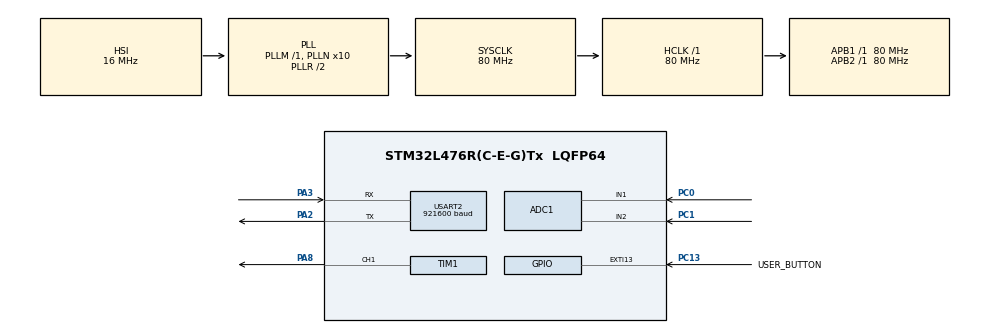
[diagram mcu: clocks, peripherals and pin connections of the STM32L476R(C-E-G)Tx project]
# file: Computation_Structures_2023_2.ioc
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ADC1.Channel-0\#ChannelRegularConversion=ADC_CHANNEL_1
ADC1.Channel-1\#ChannelRegularConversion=ADC_CHANNEL_2
ADC1.ClockPrescaler=ADC_CLOCK_ASYNC_DIV1
ADC1.ContinuousConvMode=ENABLE
ADC1.EOCSelection=ADC_EOC_SEQ_CONV
ADC1.NbrOfConversion=2
ADC1.NbrOfConversionFlag=1
ADC1.OffsetNumber-0\#ChannelRegularConversion=ADC_OFFSET_NONE
ADC1.OffsetNumber-1\#ChannelRegularConversion=ADC_OFFSET_NONE
ADC1.Rank-0\#ChannelRegularConversion=1
ADC1.Rank-1\#ChannelRegularConversion=2
ADC1.SamplingTime-0\#ChannelRegularConversion=ADC_SAMPLETIME_2CYCLES_5
ADC1.SamplingTime-1\#ChannelRegularConversion=ADC_SAMPLETIME_2CYCLES_5
ADC1.master=1
Dma.ADC1.1.Direction=DMA_PERIPH_TO_MEMORY
Dma.ADC1.1.Instance=DMA1_Channel1
Dma.ADC1.1.MemDataAlignment=DMA_MDATAALIGN_HALFWORD
Dma.ADC1.1.MemInc=DMA_MINC_ENABLE
Dma.ADC1.1.Mode=DMA_NORMAL
Dma.ADC1.1.PeriphDataAlignment=DMA_PDATAALIGN_HALFWORD
Dma.ADC1.1.PeriphInc=DMA_PINC_DISABLE
Dma.ADC1.1.Priority=DMA_PRIORITY_HIGH
Dma.Request0=USART2_TX
Dma.Request1=ADC1
Dma.USART2_TX.0.Direction=DMA_MEMORY_TO_PERIPH
Dma.USART2_TX.0.Instance=DMA1_Channel7
Dma.USART2_TX.0.MemDataAlignment=DMA_MDATAALIGN_BYTE
Dma.USART2_TX.0.MemInc=DMA_MINC_ENABLE
Dma.USART2_TX.0.Mode=DMA_NORMAL
Dma.USART2_TX.0.PeriphDataAlignment=DMA_PDATAALIGN_BYTE
Dma.USART2_TX.0.PeriphInc=DMA_PINC_DISABLE
Dma.USART2_TX.0.Priority=DMA_PRIORITY_MEDIUM
Mcu.Family=STM32L4
Mcu.Name=STM32L476R(C-E-G)Tx
Mcu.Package=LQFP64
NVIC.DMA1_Channel1_IRQn=true\:0\:0\:false\:false\:true\:false\:true\:true
NVIC.DMA1_Channel7_IRQn=true\:0\:0\:false\:false\:true\:false\:true\:true
NVIC.EXTI15_10_IRQn=true\:0\:0\:false\:false\:true\:true\:true\:true
NVIC.PriorityGroup=NVIC_PRIORITYGROUP_4
NVIC.RTC_Alarm_IRQn=true\:0\:0\:false\:false\:true\:true\:true\:true
NVIC.TIM7_IRQn=true\:0\:0\:false\:false\:true\:true\:true\:true
NVIC.USART2_IRQn=true\:0\:0\:false\:false\:true\:true\:true\:true
PA2.Mode=Asynchronous
PA2.Signal=USART2_TX
PA3.Mode=Asynchronous
PA3.Signal=USART2_RX
PA8.Signal=S_TIM1_CH1
PC0.Signal=ADCx_IN1
PC1.Signal=ADCx_IN2
PC13.GPIO_Label=USER_BUTTON
PC13.Signal=GPXTI13
ProjectManager.HeapSize=0x200
ProjectManager.StackSize=0x400
ProjectManager.TargetToolchain=STM32CubeIDE
RCC.ADCFreq_Value=64000000
RCC.AHBFreq_Value=80000000
RCC.APB1Freq_Value=80000000
RCC.APB1TimFreq_Value=80000000
RCC.APB2Freq_Value=80000000
RCC.APB2TimFreq_Value=80000000
RCC.CortexFreq_Value=80000000
RCC.HCLKFreq_Value=80000000
RCC.HSE_VALUE=8000000
RCC.HSI_VALUE=16000000
RCC.LSE_VALUE=32768
RCC.MSI_VALUE=4000000
RCC.PLLN=10
RCC.PLLSourceVirtual=RCC_PLLSOURCE_HSI
RCC.PREFETCH_ENABLE=1
RCC.SYSCLKFreq_VALUE=80000000
RCC.SYSCLKSource=RCC_SYSCLKSOURCE_PLLCLK
RCC.USBFreq_Value=64000000
RCC.VCOOutputFreq_Value=160000000
RTC.Alarm-Alarm\ A=RTC_ALARM_A
SH.ADCx_IN1.0=ADC1_IN1,IN1-Single-Ended
SH.ADCx_IN2.0=ADC1_IN2,IN2-Single-Ended
SH.S_TIM1_CH1.0=TIM1_CH1,PWM Generation1 CH1
TIM1.Channel-PWM\ Generation1\ CH1=TIM_CHANNEL_1
TIM1.Period=100-1
TIM1.Prescaler=800-1
TIM7.Period=10000-1
TIM7.Prescaler=8000-1
USART2.BaudRate=921600
USART2.VirtualMode-Asynchronous=VM_ASYNC
VP_RTC_VS_RTC_Activate.Mode=RTC_Enabled
VP_RTC_VS_RTC_Alarm_A_Intern.Mode=Alarm A
VP_RTC_VS_RTC_Calendar.Mode=RTC_Calendar
VP_TIM1_VS_ClockSourceINT.Mode=Internal
VP_TIM7_VS_ClockSourceINT.Mode=Enable_Timer
board=NUCLEO-L476RG

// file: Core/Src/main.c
/* USER CODE BEGIN Header */
/**
  ******************************************************************************
  * @file           : main.c
  * @brief          : Main program body
  ******************************************************************************
  * @attention
  *
  * Copyright (c) 2023 STMicroelectronics.
  * All rights reserved.
  *
  * This software is licensed under terms that can be found in the LICENSE file
  * in the root directory of this software component.
  * If no LICENSE file comes with this software, it is provided AS-IS.
  *
  ******************************************************************************
  */
/* USER CODE END Header */
#include "main.h"

/* USER CODE BEGIN Includes */
#include <stdio.h>
/* USER CODE END Includes */

ADC_HandleTypeDef hadc1;
DMA_HandleTypeDef hdma_adc1;

RTC_HandleTypeDef hrtc;

TIM_HandleTypeDef htim1;
TIM_HandleTypeDef htim7;

UART_HandleTypeDef huart2;
DMA_HandleTypeDef hdma_usart2_tx;

/* USER CODE BEGIN PV */
uint8_t rx_buffer[4];

uint8_t tx_busy = 0;

uint16_t adc_buffer[10];

uint8_t pwm_buffer[1000];
/* USER CODE END PV */

void SystemClock_Config(void);
static void MX_GPIO_Init(void);
static void MX_DMA_Init(void);
static void MX_USART2_UART_Init(void);
static void MX_TIM7_Init(void);
static void MX_TIM1_Init(void);
static void MX_ADC1_Init(void);
static void MX_RTC_Init(void);

/* USER CODE BEGIN 0 */
int _write(int file, char *ptr, int len)
{
	while (tx_busy != 0) {/* Wait */}
  HAL_UART_Transmit_DMA(&huart2, (uint8_t *)ptr, len);
  tx_busy = 1;
  return len;
}

void HAL_UART_RxCpltCallback(UART_HandleTypeDef *huart)
{
	printf("Received: [%s]\r\n", rx_buffer);
	HAL_UART_Receive_IT(&huart2, rx_buffer, 1);
}

void HAL_UART_TxCpltCallback(UART_HandleTypeDef *huart)
{
	tx_busy = 0;
}

void HAL_TIM_PeriodElapsedCallback(TIM_HandleTypeDef *htim)
{
	static uint32_t counter = 0;

	//printf("Counter: %ld\r\n", counter++);
}

void update_adc_channel(uint32_t new_channel)
{
	ADC_ChannelConfTypeDef sConfig = {0};
	/** Configure Regular Channel
	  */
	sConfig.Channel = new_channel;
	sConfig.Rank = ADC_REGULAR_RANK_1;
	sConfig.SamplingTime = ADC_SAMPLETIME_2CYCLES_5;
	sConfig.SingleDiff = ADC_SINGLE_ENDED;
	sConfig.OffsetNumber = ADC_OFFSET_NONE;
	sConfig.Offset = 0;
	if (HAL_ADC_ConfigChannel(&hadc1, &sConfig) != HAL_OK)
	{
		Error_Handler();
	}
}

void rct_alarm_config(void)
{
	RTC_DateTypeDef date;
	RTC_TimeTypeDef time;
	RTC_AlarmTypeDef alarm;

	date.Year = 0x23;
	date.Month = RTC_MONTH_OCTOBER;
	date.Date = 0x06;
	date.WeekDay = RTC_WEEKDAY_FRIDAY;
	HAL_RTC_SetDate(&hrtc, &date, RTC_FORMAT_BCD);

	time.Hours = 0x19;
	time.Minutes = 0x10;
	time.Seconds = 0x00;
	time.TimeFormat = RTC_HOURFORMAT_24;
	HAL_RTC_SetTime(&hrtc, &time, RTC_FORMAT_BCD);

	alarm.Alarm = RTC_ALARM_A;
	alarm.AlarmTime.Hours = 0x19;
	alarm.AlarmTime.Minutes = 0x10;
	alarm.AlarmTime.Seconds = 0x10;

	alarm.AlarmTime.TimeFormat = RTC_HOURFORMAT_24;
	alarm.AlarmDateWeekDay = RTC_WEEKDAY_FRIDAY;
	alarm.AlarmDateWeekDaySel = RTC_ALARMDATEWEEKDAYSEL_WEEKDAY;
	alarm.AlarmMask = RTC_ALARMMASK_DATEWEEKDAY;
	HAL_RTC_SetAlarm_IT(&hrtc, &alarm, RTC_FORMAT_BCD);
}

/* USER CODE END 0 */
void HAL_RTC_AlarmAEventCallback(RTC_HandleTypeDef *hrtc)
{
	/*Turn LD2 0n: Alarm generation */
	printf("Alarm!!!\r\n");
}
int main(void)
{

  /* MCU Configuration--------------------------------------------------------*/

  /* Reset of all peripherals, Initializes the Flash interface and the Systick. */
  HAL_Init();

  /* Configure the system clock */
  SystemClock_Config();

  /* Initialize all configured peripherals */
  MX_GPIO_Init();
  MX_DMA_Init();
  MX_USART2_UART_Init();
  MX_TIM7_Init();
  MX_TIM1_Init();
  MX_ADC1_Init();
  MX_RTC_Init();
  /* USER CODE BEGIN 2 */
  HAL_UART_Receive_IT(&huart2, rx_buffer, 1);

  HAL_TIM_Base_Start_IT(&htim7);

  TIM1->CCR1 = 50; // To set the compare channel 1
  HAL_TIM_PWM_Start(&htim1, TIM_CHANNEL_1);

  /*The ADC buffer will have the latest values from here*/
  HAL_ADC_Start_DMA(&hadc1, (uint32_t*)adc_buffer, 2);
  /* USER CODE END 2 */

  /* Infinite loop */
  /* USER CODE BEGIN WHILE */
  for (uint8_t idx =0; idx <= 0x0F; idx++)
	  printf("IDX: 0x%02X\r\n", idx);

  //printf("Initial values: %d, %d\r\n", adc_buffer[0], adc_buffer[1]);

  rct_alarm_config();
  while (1)
  {
//	update_adc_channel(ADC_CHANNEL_1);
//	HAL_ADC_Start(&hadc1);
//	HAL_ADC_PollForConversion(&hadc1, 10);
//	uint16_t adc_value = HAL_ADC_GetValue(&hadc1);
//	HAL_ADC_Stop(&hadc1);
//
//	update_adc_channel(ADC_CHANNEL_2);
//	HAL_ADC_Start(&hadc1);
//	HAL_ADC_PollForConversion(&hadc1, 10);
//	uint16_t adc_value2 = HAL_ADC_GetValue(&hadc1);
//	HAL_ADC_Stop(&hadc1);
//
//	float adc_voltage = (adc_value / 4096.0) * 3.3;
//	float adc_voltage2 = (adc_value2 / 4096.0) * 3.3;
//	printf("ADC Reading: %f, %f\r\n", adc_voltage, adc_voltage2);
	 HAL_ADC_Start_DMA(&hadc1, (uint32_t*)adc_buffer, 10);
	 HAL_Delay(1000);
	 uint32_t adc_chanel_1 = adc_buffer[0] + adc_buffer[2] +
			 adc_buffer[4] + adc_buffer[6] + adc_buffer[8];
	 adc_chanel_1 = adc_chanel_1 / 5;
	 uint32_t adc_chanel_2 = adc_buffer[1] + adc_buffer[3] +
	 			 adc_buffer[5] + adc_buffer[7] + adc_buffer[9];
	 	 adc_chanel_2 = adc_chanel_2 / 5;
	 //printf("Current values: %d, %d\r\n", adc_buffer[0], adc_buffer[1]);
	 printf("Average: %ld, %ld\r\n", adc_chanel_1, adc_chanel_2);
    /* USER CODE END WHILE */

  }
}

void SystemClock_Config(void)
{
  RCC_OscInitTypeDef RCC_OscInitStruct = {0};
  RCC_ClkInitTypeDef RCC_ClkInitStruct = {0};

  /** Configure the main internal regulator output voltage
  */
  if (HAL_PWREx_ControlVoltageScaling(PWR_REGULATOR_VOLTAGE_SCALE1) != HAL_OK)
  {
    Error_Handler();
  }

  /** Initializes the RCC Oscillators according to the specified parameters
  * in the RCC_OscInitTypeDef structure.
  */
  RCC_OscInitStruct.OscillatorType = RCC_OSCILLATORTYPE_HSI|RCC_OSCILLATORTYPE_LSI;
  RCC_OscInitStruct.HSIState = RCC_HSI_ON;
  RCC_OscInitStruct.HSICalibrationValue = RCC_HSICALIBRATION_DEFAULT;
  RCC_OscInitStruct.LSIState = RCC_LSI_ON;
  RCC_OscInitStruct.PLL.PLLState = RCC_PLL_ON;
  RCC_OscInitStruct.PLL.PLLSource = RCC_PLLSOURCE_HSI;
  RCC_OscInitStruct.PLL.PLLM = 1;
  RCC_OscInitStruct.PLL.PLLN = 10;
  RCC_OscInitStruct.PLL.PLLP = RCC_PLLP_DIV7;
  RCC_OscInitStruct.PLL.PLLQ = RCC_PLLQ_DIV2;
  RCC_OscInitStruct.PLL.PLLR = RCC_PLLR_DIV2;
  if (HAL_RCC_OscConfig(&RCC_OscInitStruct) != HAL_OK)
  {
    Error_Handler();
  }

  /** Initializes the CPU, AHB and APB buses clocks
  */
  RCC_ClkInitStruct.ClockType = RCC_CLOCKTYPE_HCLK|RCC_CLOCKTYPE_SYSCLK
                              |RCC_CLOCKTYPE_PCLK1|RCC_CLOCKTYPE_PCLK2;
  RCC_ClkInitStruct.SYSCLKSource = RCC_SYSCLKSOURCE_PLLCLK;
  RCC_ClkInitStruct.AHBCLKDivider = RCC_SYSCLK_DIV1;
  RCC_ClkInitStruct.APB1CLKDivider = RCC_HCLK_DIV1;
  RCC_ClkInitStruct.APB2CLKDivider = RCC_HCLK_DIV1;

  if (HAL_RCC_ClockConfig(&RCC_ClkInitStruct, FLASH_LATENCY_4) != HAL_OK)
  {
    Error_Handler();
  }
}

static void MX_ADC1_Init(void)
{

  ADC_MultiModeTypeDef multimode = {0};
  ADC_ChannelConfTypeDef sConfig = {0};

  /** Common config
  */
  hadc1.Instance = ADC1;
  hadc1.Init.ClockPrescaler = ADC_CLOCK_ASYNC_DIV1;
  hadc1.Init.Resolution = ADC_RESOLUTION_12B;
  hadc1.Init.DataAlign = ADC_DATAALIGN_RIGHT;
  hadc1.Init.ScanConvMode = ADC_SCAN_ENABLE;
  hadc1.Init.EOCSelection = ADC_EOC_SEQ_CONV;
  hadc1.Init.LowPowerAutoWait = DISABLE;
  hadc1.Init.ContinuousConvMode = ENABLE;
  hadc1.Init.NbrOfConversion = 2;
  hadc1.Init.DiscontinuousConvMode = DISABLE;
  hadc1.Init.ExternalTrigConv = ADC_SOFTWARE_START;
  hadc1.Init.ExternalTrigConvEdge = ADC_EXTERNALTRIGCONVEDGE_NONE;
  hadc1.Init.DMAContinuousRequests = DISABLE;
  hadc1.Init.Overrun = ADC_OVR_DATA_PRESERVED;
  hadc1.Init.OversamplingMode = DISABLE;
  if (HAL_ADC_Init(&hadc1) != HAL_OK)
  {
    Error_Handler();
  }

  /** Configure the ADC multi-mode
  */
  multimode.Mode = ADC_MODE_INDEPENDENT;
  if (HAL_ADCEx_MultiModeConfigChannel(&hadc1, &multimode) != HAL_OK)
  {
    Error_Handler();
  }

  /** Configure Regular Channel
  */
  sConfig.Channel = ADC_CHANNEL_1;
  sConfig.Rank = ADC_REGULAR_RANK_1;
  sConfig.SamplingTime = ADC_SAMPLETIME_2CYCLES_5;
  sConfig.SingleDiff = ADC_SINGLE_ENDED;
  sConfig.OffsetNumber = ADC_OFFSET_NONE;
  sConfig.Offset = 0;
  if (HAL_ADC_ConfigChannel(&hadc1, &sConfig) != HAL_OK)
  {
    Error_Handler();
  }

  /** Configure Regular Channel
  */
  sConfig.Channel = ADC_CHANNEL_2;
  sConfig.Rank = ADC_REGULAR_RANK_2;
  if (HAL_ADC_ConfigChannel(&hadc1, &sConfig) != HAL_OK)
  {
    Error_Handler();
  }

}

static void MX_RTC_Init(void)
{

  RTC_TimeTypeDef sTime = {0};
  RTC_DateTypeDef sDate = {0};
  RTC_AlarmTypeDef sAlarm = {0};

  /** Initialize RTC Only
  */
  hrtc.Instance = RTC;
  hrtc.Init.HourFormat = RTC_HOURFORMAT_24;
  hrtc.Init.AsynchPrediv = 127;
  hrtc.Init.SynchPrediv = 255;
  hrtc.Init.OutPut = RTC_OUTPUT_DISABLE;
  hrtc.Init.OutPutRemap = RTC_OUTPUT_REMAP_NONE;
  hrtc.Init.OutPutPolarity = RTC_OUTPUT_POLARITY_HIGH;
  hrtc.Init.OutPutType = RTC_OUTPUT_TYPE_OPENDRAIN;
  if (HAL_RTC_Init(&hrtc) != HAL_OK)
  {
    Error_Handler();
  }

  /** Initialize RTC and set the Time and Date
  */
  sTime.Hours = 0x0;
  sTime.Minutes = 0x0;
  sTime.Seconds = 0x0;
  sTime.DayLightSaving = RTC_DAYLIGHTSAVING_NONE;
  sTime.StoreOperation = RTC_STOREOPERATION_RESET;
  if (HAL_RTC_SetTime(&hrtc, &sTime, RTC_FORMAT_BCD) != HAL_OK)
  {
    Error_Handler();
  }
  sDate.WeekDay = RTC_WEEKDAY_MONDAY;
  sDate.Month = RTC_MONTH_JANUARY;
  sDate.Date = 0x1;
  sDate.Year = 0x0;

  if (HAL_RTC_SetDate(&hrtc, &sDate, RTC_FORMAT_BCD) != HAL_OK)
  {
    Error_Handler();
  }

  /** Enable the Alarm A
  */
  sAlarm.AlarmTime.Hours = 0x0;
  sAlarm.AlarmTime.Minutes = 0x0;
  sAlarm.AlarmTime.Seconds = 0x0;
  sAlarm.AlarmTime.SubSeconds = 0x0;
  sAlarm.AlarmTime.DayLightSaving = RTC_DAYLIGHTSAVING_NONE;
  sAlarm.AlarmTime.StoreOperation = RTC_STOREOPERATION_RESET;
  sAlarm.AlarmMask = RTC_ALARMMASK_NONE;
  sAlarm.AlarmSubSecondMask = RTC_ALARMSUBSECONDMASK_ALL;
  sAlarm.AlarmDateWeekDaySel = RTC_ALARMDATEWEEKDAYSEL_DATE;
  sAlarm.AlarmDateWeekDay = 0x1;
  sAlarm.Alarm = RTC_ALARM_A;
  if (HAL_RTC_SetAlarm_IT(&hrtc, &sAlarm, RTC_FORMAT_BCD) != HAL_OK)
  {
    Error_Handler();
  }

}

static void MX_TIM1_Init(void)
{

  TIM_ClockConfigTypeDef sClockSourceConfig = {0};
  TIM_MasterConfigTypeDef sMasterConfig = {0};
  TIM_OC_InitTypeDef sConfigOC = {0};
  TIM_BreakDeadTimeConfigTypeDef sBreakDeadTimeConfig = {0};

  htim1.Instance = TIM1;
  htim1.Init.Prescaler = 800-1;
  htim1.Init.CounterMode = TIM_COUNTERMODE_UP;
  htim1.Init.Period = 100-1;
  htim1.Init.ClockDivision = TIM_CLOCKDIVISION_DIV1;
  htim1.Init.RepetitionCounter = 0;
  htim1.Init.AutoReloadPreload = TIM_AUTORELOAD_PRELOAD_DISABLE;
  if (HAL_TIM_Base_Init(&htim1) != HAL_OK)
  {
    Error_Handler();
  }
  sClockSourceConfig.ClockSource = TIM_CLOCKSOURCE_INTERNAL;
  if (HAL_TIM_ConfigClockSource(&htim1, &sClockSourceConfig) != HAL_OK)
  {
    Error_Handler();
  }
  if (HAL_TIM_PWM_Init(&htim1) != HAL_OK)
  {
    Error_Handler();
  }
  sMasterConfig.MasterOutputTrigger = TIM_TRGO_RESET;
  sMasterConfig.MasterOutputTrigger2 = TIM_TRGO2_RESET;
  sMasterConfig.MasterSlaveMode = TIM_MASTERSLAVEMODE_DISABLE;
  if (HAL_TIMEx_MasterConfigSynchronization(&htim1, &sMasterConfig) != HAL_OK)
  {
    Error_Handler();
  }
  sConfigOC.OCMode = TIM_OCMODE_PWM1;
  sConfigOC.Pulse = 0;
  sConfigOC.OCPolarity = TIM_OCPOLARITY_HIGH;
  sConfigOC.OCNPolarity = TIM_OCNPOLARITY_HIGH;
  sConfigOC.OCFastMode = TIM_OCFAST_DISABLE;
  sConfigOC.OCIdleState = TIM_OCIDLESTATE_RESET;
  sConfigOC.OCNIdleState = TIM_OCNIDLESTATE_RESET;
  if (HAL_TIM_PWM_ConfigChannel(&htim1, &sConfigOC, TIM_CHANNEL_1) != HAL_OK)
  {
    Error_Handler();
  }
  sBreakDeadTimeConfig.OffStateRunMode = TIM_OSSR_DISABLE;
  sBreakDeadTimeConfig.OffStateIDLEMode = TIM_OSSI_DISABLE;
  sBreakDeadTimeConfig.LockLevel = TIM_LOCKLEVEL_OFF;
  sBreakDeadTimeConfig.DeadTime = 0;
  sBreakDeadTimeConfig.BreakState = TIM_BREAK_DISABLE;
  sBreakDeadTimeConfig.BreakPolarity = TIM_BREAKPOLARITY_HIGH;
  sBreakDeadTimeConfig.BreakFilter = 0;
  sBreakDeadTimeConfig.Break2State = TIM_BREAK2_DISABLE;
  sBreakDeadTimeConfig.Break2Polarity = TIM_BREAK2POLARITY_HIGH;
  sBreakDeadTimeConfig.Break2Filter = 0;
  sBreakDeadTimeConfig.AutomaticOutput = TIM_AUTOMATICOUTPUT_DISABLE;
  if (HAL_TIMEx_ConfigBreakDeadTime(&htim1, &sBreakDeadTimeConfig) != HAL_OK)
  {
    Error_Handler();
  }
  HAL_TIM_MspPostInit(&htim1);

}

static void MX_TIM7_Init(void)
{

  TIM_MasterConfigTypeDef sMasterConfig = {0};

  htim7.Instance = TIM7;
  htim7.Init.Prescaler = 8000-1;
  htim7.Init.CounterMode = TIM_COUNTERMODE_UP;
  htim7.Init.Period = 10000-1;
  htim7.Init.AutoReloadPreload = TIM_AUTORELOAD_PRELOAD_DISABLE;
  if (HAL_TIM_Base_Init(&htim7) != HAL_OK)
  {
    Error_Handler();
  }
  sMasterConfig.MasterOutputTrigger = TIM_TRGO_RESET;
  sMasterConfig.MasterSlaveMode = TIM_MASTERSLAVEMODE_DISABLE;
  if (HAL_TIMEx_MasterConfigSynchronization(&htim7, &sMasterConfig) != HAL_OK)
  {
    Error_Handler();
  }

}

static void MX_USART2_UART_Init(void)
{

  huart2.Instance = USART2;
  huart2.Init.BaudRate = 921600;
  huart2.Init.WordLength = UART_WORDLENGTH_8B;
  huart2.Init.StopBits = UART_STOPBITS_1;
  huart2.Init.Parity = UART_PARITY_NONE;
  huart2.Init.Mode = UART_MODE_TX_RX;
  huart2.Init.HwFlowCtl = UART_HWCONTROL_NONE;
  huart2.Init.OverSampling = UART_OVERSAMPLING_16;
  huart2.Init.OneBitSampling = UART_ONE_BIT_SAMPLE_DISABLE;
  huart2.AdvancedInit.AdvFeatureInit = UART_ADVFEATURE_NO_INIT;
  if (HAL_UART_Init(&huart2) != HAL_OK)
  {
    Error_Handler();
  }

}

static void MX_DMA_Init(void)
{

  /* DMA controller clock enable */
  __HAL_RCC_DMA1_CLK_ENABLE();

  /* DMA interrupt init */
  /* DMA1_Channel1_IRQn interrupt configuration */
  HAL_NVIC_SetPriority(DMA1_Channel1_IRQn, 0, 0);
  HAL_NVIC_EnableIRQ(DMA1_Channel1_IRQn);
  /* DMA1_Channel7_IRQn interrupt configuration */
  HAL_NVIC_SetPriority(DMA1_Channel7_IRQn, 0, 0);
  HAL_NVIC_EnableIRQ(DMA1_Channel7_IRQn);

}

static void MX_GPIO_Init(void)
{
  GPIO_InitTypeDef GPIO_InitStruct = {0};

  /* GPIO Ports Clock Enable */
  __HAL_RCC_GPIOC_CLK_ENABLE();
  __HAL_RCC_GPIOA_CLK_ENABLE();

  /*Configure GPIO pin : USER_BUTTON_Pin */
  GPIO_InitStruct.Pin = USER_BUTTON_Pin;
  GPIO_InitStruct.Mode = GPIO_MODE_IT_RISING;
  GPIO_InitStruct.Pull = GPIO_NOPULL;
  HAL_GPIO_Init(USER_BUTTON_GPIO_Port, &GPIO_InitStruct);

  /* EXTI interrupt init*/
  HAL_NVIC_SetPriority(EXTI15_10_IRQn, 0, 0);
  HAL_NVIC_EnableIRQ(EXTI15_10_IRQn);

}

void Error_Handler(void)
{
  __disable_irq();
  while (1)
  {
  }
}
